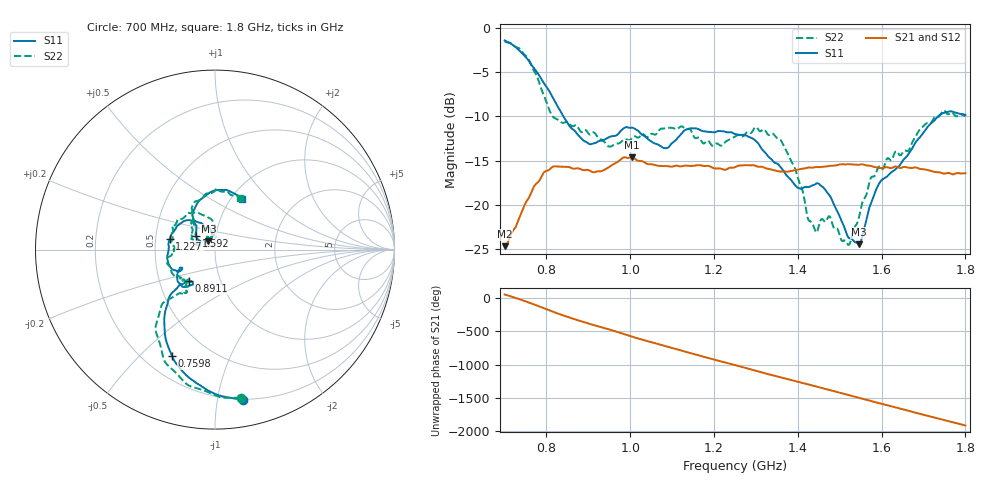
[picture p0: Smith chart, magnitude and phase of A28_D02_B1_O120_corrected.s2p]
! Created with skrf 1.9.0 (http://scikit-rf.org).
# Hz S RI R 50.0
!freq ReS11 ImS11 ReS21 ImS21 ReS12 ImS12 ReS22 ImS22
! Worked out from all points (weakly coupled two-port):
!   1601 points, 700 MHz to 1.8 GHz, reference 50 ohm
!   highest |S21| = -14.61 dB at 1.005 GHz (marker M1); lowest = -24.7 dB at 700.7 MHz (marker M2)
!   lowest |S11| = -24.5 dB at 1.546 GHz (marker M3), VSWR 1.13, Z = 46.2 + j4.36 ohm
!   |S11| at or under -10 dB: 840.4 MHz to 1.735 GHz (894.3 MHz wide, 69.5 % of centre)
!   |S22| runs from -24.5 to -1.5 dB; largest |S21 - S12| = 0.0035
!   S11 on the Smith chart (normalised r, x): 700 MHz: 0.20, -1.19; 759.8 MHz: 0.31, -0.63; 891.1 MHz: 0.71, -0.26; 1.227 GHz: 0.59, +0.08; 1.592 GHz: 0.80, +0.12; 1.8 GHz: 1.12, +0.71
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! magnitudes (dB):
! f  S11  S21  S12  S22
! 700 MHz  -1.4  -24.7  -24.5  -1.5
! 700.7 MHz  -1.4  -24.7  -24.4  -1.5
! 759.8 MHz  -3.9  -19.0  -18.9  -3.8
! 814.1 MHz  -7.8  -15.7  -15.8  -10.0
! 883.6 MHz  -12.5  -16.0  -15.9  -11.8
! 891.1 MHz  -12.8  -16.1  -16.1  -11.5
! 950.9 MHz  -12.3  -15.7  -15.7  -13.4
! 1.005 GHz  -11.3  -14.6  -14.8  -12.4
! 1.067 GHz  -13.2  -15.6  -15.5  -11.7
! 1.227 GHz  -11.7  -16.0  -15.9  -12.9
! 1.25 GHz  -12.0  -15.7  -15.7  -12.3
! 1.3 GHz  -12.8  -15.6  -15.6  -11.2
! 1.359 GHz  -15.7  -16.2  -16.2  -12.7
! 1.401 GHz  -18.1  -16.0  -16.0  -17.0
! 1.434 GHz  -17.8  -15.8  -15.8  -22.0
! 1.476 GHz  -18.9  -15.6  -15.6  -21.3
! 1.52 GHz  -23.7  -15.4  -15.4  -24.5
! 1.546 GHz  -24.5  -15.5  -15.4  -21.5
! 1.592 GHz  -17.8  -15.8  -15.8  -15.8
! 1.617 GHz  -16.6  -15.8  -15.8  -14.8
! 1.738 GHz  -9.9  -16.3  -16.4  -10.0
! 1.8 GHz  -9.8  -16.4  -16.4  -10.0
